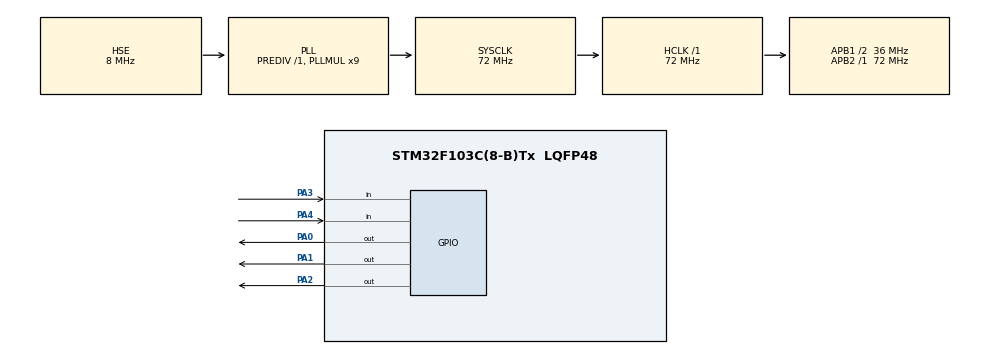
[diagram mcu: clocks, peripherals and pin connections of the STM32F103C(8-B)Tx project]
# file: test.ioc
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Mcu.Family=STM32F1
Mcu.Name=STM32F103C(8-B)Tx
Mcu.Package=LQFP48
NVIC.PriorityGroup=NVIC_PRIORITYGROUP_4
PA0-WKUP.Signal=GPIO_Output
PA1.Signal=GPIO_Output
PA13.Mode=Serial_Wire
PA13.Signal=SYS_JTMS-SWDIO
PA14.Mode=Serial_Wire
PA14.Signal=SYS_JTCK-SWCLK
PA2.Signal=GPIO_Output
PA3.GPIO_PuPd=GPIO_PULLDOWN
PA3.Signal=GPIO_Input
PA4.GPIO_PuPd=GPIO_PULLDOWN
PA4.Signal=GPIO_Input
PD0-OSC_IN.Mode=HSE-External-Oscillator
PD0-OSC_IN.Signal=RCC_OSC_IN
PD1-OSC_OUT.Mode=HSE-External-Oscillator
PD1-OSC_OUT.Signal=RCC_OSC_OUT
ProjectManager.HeapSize=0x200
ProjectManager.StackSize=0x400
ProjectManager.TargetToolchain=MDK-ARM V5
RCC.AHBFreq_Value=72000000
RCC.APB1CLKDivider=RCC_HCLK_DIV2
RCC.APB1Freq_Value=36000000
RCC.APB1TimFreq_Value=72000000
RCC.APB2Freq_Value=72000000
RCC.APB2TimFreq_Value=72000000
RCC.HCLKFreq_Value=72000000
RCC.PLLMUL=RCC_PLL_MUL9
RCC.PLLSourceVirtual=RCC_PLLSOURCE_HSE
RCC.SYSCLKFreq_VALUE=72000000
RCC.SYSCLKSource=RCC_SYSCLKSOURCE_PLLCLK
RCC.USBFreq_Value=72000000
board=custom

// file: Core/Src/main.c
/* USER CODE BEGIN Header */
/**
  ******************************************************************************
  * @file           : main.c
  * @brief          : Main program body
  ******************************************************************************
  * @attention
  *
  * Copyright (c) 2026 STMicroelectronics.
  * All rights reserved.
  *
  * This software is licensed under terms that can be found in the LICENSE file
  * in the root directory of this software component.
  * If no LICENSE file comes with this software, it is provided AS-IS.
  *
  ******************************************************************************
  */
/* USER CODE END Header */
#include "main.h"
#include "gpio.h"

/* USER CODE BEGIN PV */
// RGB模式：0=绿常亮  1=红常亮  2=绿呼吸
uint8_t rgb_mode = 0;

// 蜂鸣模式：0=常响  1=静默  2=间断响
uint8_t beep_mode = 0;

// 按键状态
uint8_t key1_short = 0;  // 按键1短按标志
uint8_t key2_long  = 0;  // 按键2长按标志

// 呼吸灯用
uint16_t pwm_cnt   = 0;   // PWM计数
uint16_t pwm_cmp   = 0;   // PWM比较值
uint8_t  breath_dir = 1;  // 呼吸方向 1=渐亮 0=渐暗
// 计时用
uint32_t tick = 0;
uint32_t breath_tick = 0;
/* USER CODE END PV */

void SystemClock_Config(void);

/* USER CODE BEGIN 0 */
/**
 * @brief  按键扫描函数（带软件消抖，区分短按和长按）
 * @retval 0=无按键  1=短按  2=长按
 */
uint8_t KEY_Scan(GPIO_TypeDef *GPIOx, uint16_t GPIO_Pin)
{
    // 按键按下（高电平，因为下拉输入，按下接3.3V）
    if (HAL_GPIO_ReadPin(GPIOx, GPIO_Pin) == GPIO_PIN_SET)
    {
        HAL_Delay(10);  // 消抖10ms
        if (HAL_GPIO_ReadPin(GPIOx, GPIO_Pin) == GPIO_PIN_SET)
        {
            // 等待松手，同时计时判断长按
            uint32_t press_time = 0;
            while (HAL_GPIO_ReadPin(GPIOx, GPIO_Pin) == GPIO_PIN_SET)
            {
                HAL_Delay(10);
                press_time++;
                if (press_time > 50)  // 50*10ms = 500ms 以上算长按
                {
                    // 还按着，返回长按
                    // 等松手再返回
                    while (HAL_GPIO_ReadPin(GPIOx, GPIO_Pin) == GPIO_PIN_SET)
                    {
                        HAL_Delay(10);
                    }
                    return 2;  // 长按
                }
            }
            return 1;  // 短按
        }
    }
    return 0;  // 无按键
}
/**
 * @brief  RGB灯控制
 * @param  mode: 0=绿常亮  1=红常亮  2=绿呼吸
 */
void RGB_Control(uint8_t mode)
{
    switch (mode)
    {
        case 0:  // 绿常亮
            HAL_GPIO_WritePin(GPIOA, GPIO_PIN_0, GPIO_PIN_SET);  // 绿灯亮
            HAL_GPIO_WritePin(GPIOA, GPIO_PIN_1, GPIO_PIN_RESET); // 红灯灭
            break;

        case 1:  // 红常亮
            HAL_GPIO_WritePin(GPIOA, GPIO_PIN_0, GPIO_PIN_RESET); // 绿灯灭
            HAL_GPIO_WritePin(GPIOA, GPIO_PIN_1, GPIO_PIN_SET);   // 红灯亮
            break;

        case 2:  // 绿呼吸（在SysTick中断里更新亮度，这里先不做，主循环里处理）
            HAL_GPIO_WritePin(GPIOA, GPIO_PIN_1, GPIO_PIN_RESET); // 红灯灭
            break;

        default:
            break;
    }
}

/**
 * @brief  蜂鸣器控制
 * @param  mode: 0=常响  1=静默  2=间断响
 * @param  tick: 系统滴答计数，用于间断响计时
 */
void BEEP_Control(uint8_t mode, uint32_t tick)
{
    switch (mode)
    {
        case 0:  // 常响
            HAL_GPIO_WritePin(GPIOA, GPIO_PIN_2, GPIO_PIN_SET);
            break;

        case 1:  // 静默
            HAL_GPIO_WritePin(GPIOA, GPIO_PIN_2, GPIO_PIN_RESET);
            break;

        case 2:  // 间断响（500ms响，500ms停）
            if (tick % 1000 < 500)
                HAL_GPIO_WritePin(GPIOA, GPIO_PIN_2, GPIO_PIN_SET);
            else
                HAL_GPIO_WritePin(GPIOA, GPIO_PIN_2, GPIO_PIN_RESET);
            break;

        default:
            break;
    }
}
/* USER CODE END 0 */

int main(void)
{

  /* MCU Configuration--------------------------------------------------------*/

  /* Reset of all peripherals, Initializes the Flash interface and the Systick. */
  HAL_Init();

  /* Configure the system clock */
  SystemClock_Config();

  /* Initialize all configured peripherals */
  MX_GPIO_Init();

  /* Infinite loop */
  while (1)
  {

    /* USER CODE BEGIN 3 */
   tick = HAL_GetTick();  // 获取当前系统时间（ms）

    // ====== 按键扫描 ======
    uint8_t key1 = KEY_Scan(GPIOA, GPIO_PIN_3);
    uint8_t key2 = KEY_Scan(GPIOA, GPIO_PIN_4);

    // 按键1短按：切换RGB模式和蜂鸣模式
    if (key1 == 1)
    {
      rgb_mode++;
      if (rgb_mode > 2) rgb_mode = 0;

      beep_mode++;
      if (beep_mode > 2) beep_mode = 0;
    }

    // 按键2长按：绿灯常亮（松手后恢复原模式）
    if (key2 == 2)
    {
      HAL_GPIO_WritePin(GPIOA, GPIO_PIN_0, GPIO_PIN_SET);
      HAL_GPIO_WritePin(GPIOA, GPIO_PIN_1, GPIO_PIN_RESET);
    }

    // ====== RGB灯控制 ======
    if (rgb_mode == 2)  // 呼吸灯模式
    {
      // 每10ms调整一次亮度
      if (tick - breath_tick >= 10)
      {
        breath_tick = tick;
        if (breath_dir)  // 渐亮
        {
          pwm_cmp++;
          if (pwm_cmp >= 50) breath_dir = 0;
        }
        else  // 渐暗
        {
          pwm_cmp--;
          if (pwm_cmp == 0) breath_dir = 1;
        }
      }

      // 软件PWM输出
      pwm_cnt++;
      if (pwm_cnt < pwm_cmp)
        HAL_GPIO_WritePin(GPIOA, GPIO_PIN_0, GPIO_PIN_SET);
      else
        HAL_GPIO_WritePin(GPIOA, GPIO_PIN_0, GPIO_PIN_RESET);
    }
    else
    {
      RGB_Control(rgb_mode);
    }

    // ====== 蜂鸣器控制 ======
    BEEP_Control(beep_mode, tick);

    HAL_Delay(1);  // 1ms延时，配合呼吸灯PWM
      /* USER CODE END 3 */
  }

}

void SystemClock_Config(void)
{
  RCC_OscInitTypeDef RCC_OscInitStruct = {0};
  RCC_ClkInitTypeDef RCC_ClkInitStruct = {0};

  /** Initializes the RCC Oscillators according to the specified parameters
  * in the RCC_OscInitTypeDef structure.
  */
  RCC_OscInitStruct.OscillatorType = RCC_OSCILLATORTYPE_HSE;
  RCC_OscInitStruct.HSEState = RCC_HSE_ON;
  RCC_OscInitStruct.HSEPredivValue = RCC_HSE_PREDIV_DIV1;
  RCC_OscInitStruct.HSIState = RCC_HSI_ON;
  RCC_OscInitStruct.PLL.PLLState = RCC_PLL_ON;
  RCC_OscInitStruct.PLL.PLLSource = RCC_PLLSOURCE_HSE;
  RCC_OscInitStruct.PLL.PLLMUL = RCC_PLL_MUL9;
  if (HAL_RCC_OscConfig(&RCC_OscInitStruct) != HAL_OK)
  {
    Error_Handler();
  }

  /** Initializes the CPU, AHB and APB buses clocks
  */
  RCC_ClkInitStruct.ClockType = RCC_CLOCKTYPE_HCLK|RCC_CLOCKTYPE_SYSCLK
                              |RCC_CLOCKTYPE_PCLK1|RCC_CLOCKTYPE_PCLK2;
  RCC_ClkInitStruct.SYSCLKSource = RCC_SYSCLKSOURCE_PLLCLK;
  RCC_ClkInitStruct.AHBCLKDivider = RCC_SYSCLK_DIV1;
  RCC_ClkInitStruct.APB1CLKDivider = RCC_HCLK_DIV2;
  RCC_ClkInitStruct.APB2CLKDivider = RCC_HCLK_DIV1;

  if (HAL_RCC_ClockConfig(&RCC_ClkInitStruct, FLASH_LATENCY_2) != HAL_OK)
  {
    Error_Handler();
  }
}

void Error_Handler(void)
{
  __disable_irq();
  while (1)
  {
  }
}
